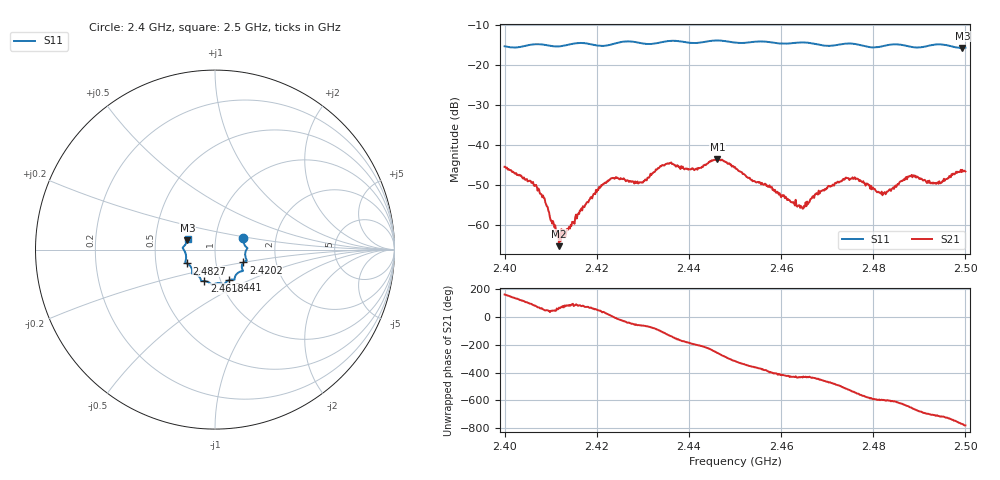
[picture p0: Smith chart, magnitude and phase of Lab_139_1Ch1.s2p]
# Hz S RI R 50
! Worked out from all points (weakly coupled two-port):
!   601 points, 2.4 GHz to 2.5 GHz, reference 50 ohm
!   highest |S21| = -43.58 dB at 2.4462 GHz (marker M1); lowest = -65.3 dB at 2.4118 GHz (marker M2)
!   lowest |S11| = -15.8 dB at 2.4993 GHz (marker M3), VSWR 1.39, Z = 36.5 + j3.83 ohm
!   |S11| at or under -10 dB: start of sweep to end of sweep
!   S12 and S22 are empty: the file has one direction only
!   S11 on the Smith chart (normalised r, x): 2.4 GHz: 1.36, +0.18; 2.4202 GHz: 1.36, -0.20; 2.441 GHz: 1.10, -0.39; 2.4618 GHz: 0.84, -0.30; 2.4827 GHz: 0.72, -0.11; 2.5 GHz: 0.73, +0.09
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2.4e9  0.1584 0.0631  -0.0051 0.00152  0 0  0 0
2.407e9  0.1808 0.0087  0.000758 0.00287  0 0  0 0
2.411833e9  0.168 -0.0257  0.000194 0.000507  0 0  0 0
2.416667e9  0.1773 -0.061  0.000304 0.00158  0 0  0 0
2.420167e9  0.1585 -0.0715  0.00175 0.00214  0 0  0 0
2.423667e9  0.1504 -0.1039  0.00384 9.39e-05  0 0  0 0
2.4295e9  0.1413 -0.1226  0.00175 -0.0029  0 0  0 0
2.433333e9  0.1116 -0.1507  -0.000244 -0.00515  0 0  0 0
2.435667e9  0.1092 -0.1659  -0.00388 -0.00433  0 0  0 0
2.441e9  0.0787 -0.1697  -0.00478 0.00128  0 0  0 0
2.446167e9  0.0496 -0.1953  -0.00122 0.00651  0 0  0 0
2.45e9  0.0285 -0.1874  0.00385 0.00362  0 0  0 0
2.461833e9  -0.0592 -0.1753  0.000624 -0.00194  0 0  0 0
2.464667e9  -0.0758 -0.1746  0.000383 -0.00156  0 0  0 0
2.466667e9  -0.0789 -0.1682  0.000423 -0.00211  0 0  0 0
2.474167e9  -0.1256 -0.1344  -0.00357 -0.00155  0 0  0 0
2.482667e9  -0.1561 -0.0772  -0.00108 0.00216  0 0  0 0
2.483333e9  -0.1605 -0.0751  -0.00128 0.00235  0 0  0 0
2.488e9  -0.1612 -0.0495  0.00154 0.00381  0 0  0 0
2.493667e9  -0.1796 0.00779  0.00322 0.000467  0 0  0 0
2.499333e9  -0.1541 0.0512  0.00294 -0.00389  0 0  0 0
2.5e9  -0.1521 0.0608  0.00214 -0.00413  0 0  0 0
